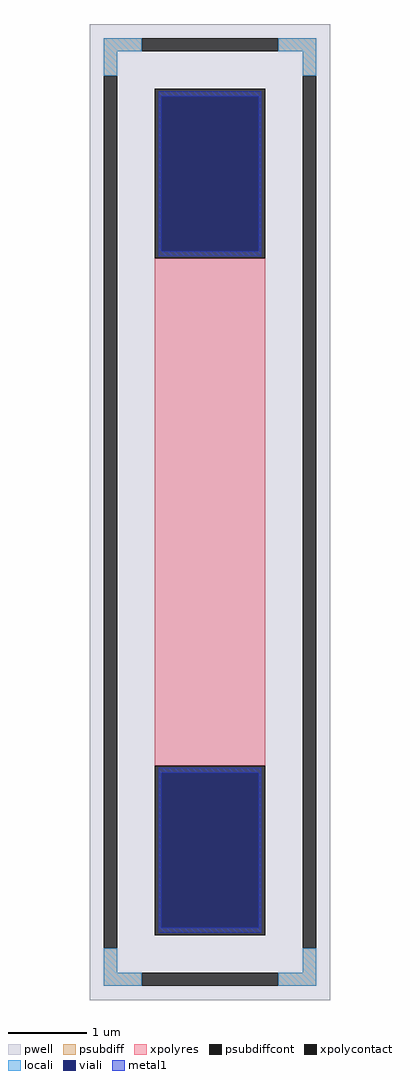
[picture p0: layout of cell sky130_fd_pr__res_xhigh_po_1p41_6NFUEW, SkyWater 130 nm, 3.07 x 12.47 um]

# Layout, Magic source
magic
tech sky130A
magscale 1 2
<< pwell >>
rect -307 -1247 307 1247
<< psubdiff >>
rect -271 1177 -175 1211
rect 175 1177 271 1211
rect -271 1115 -237 1177
rect 237 1115 271 1177
rect -271 -1177 -237 -1115
rect 237 -1177 271 -1115
rect -271 -1211 -175 -1177
rect 175 -1211 271 -1177
<< psubdiffcont >>
rect -175 1177 175 1211
rect -271 -1115 -237 1115
rect 237 -1115 271 1115
rect -175 -1211 175 -1177
<< xpolycontact >>
rect -141 649 141 1081
rect -141 -1081 141 -649
<< xpolyres >>
rect -141 -649 141 649
<< locali >>
rect -271 1177 -175 1211
rect 175 1177 271 1211
rect -271 1115 -237 1177
rect 237 1115 271 1177
rect -271 -1177 -237 -1115
rect 237 -1177 271 -1115
rect -271 -1211 -175 -1177
rect 175 -1211 271 -1177
<< viali >>
rect -125 666 125 1063
rect -125 -1063 125 -666
<< metal1 >>
rect -131 1063 131 1075
rect -131 666 -125 1063
rect 125 666 131 1063
rect -131 654 131 666
rect -131 -666 131 -654
rect -131 -1063 -125 -666
rect 125 -1063 131 -666
rect -131 -1075 131 -1063
<< properties >>
string FIXED_BBOX -254 -1194 254 1194
string gencell sky130_fd_pr__res_xhigh_po_1p41
string library sky130
string parameters w 1.410 l 6.653 m 1 nx 1 wmin 1.410 lmin 0.50 rho 2000 val 9.703k dummy 0 dw 0.0 term 188.2 sterm 0.0 caplen 0 wmax 1.410 guard 1 glc 1 grc 1 gtc 1 gbc 1 compatible {sky130_fd_pr__res_xhigh_po_0p35  sky130_fd_pr__res_xhigh_po_0p69 sky130_fd_pr__res_xhigh_po_1p41  sky130_fd_pr__res_xhigh_po_2p85 sky130_fd_pr__res_xhigh_po_5p73} snake 0 full_metal 1 n_guard 0 hv_guard 0 vias 1 viagb 0 viagt 0 viagl 0 viagr 0
<< end >>
